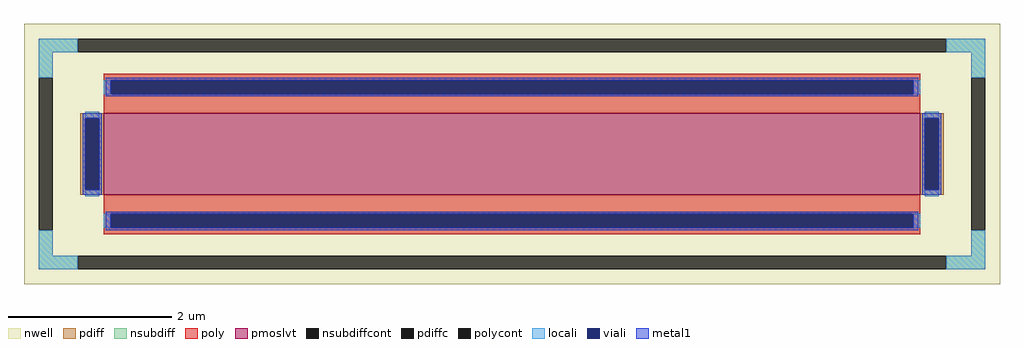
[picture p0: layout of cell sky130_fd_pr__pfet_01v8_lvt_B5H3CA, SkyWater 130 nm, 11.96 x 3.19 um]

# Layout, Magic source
magic
tech sky130A
magscale 1 2
<< nwell >>
rect -1196 -319 1196 319
<< pmoslvt >>
rect -1000 -100 1000 100
<< pdiff >>
rect -1058 88 -1000 100
rect -1058 -88 -1046 88
rect -1012 -88 -1000 88
rect -1058 -100 -1000 -88
rect 1000 88 1058 100
rect 1000 -88 1012 88
rect 1046 -88 1058 88
rect 1000 -100 1058 -88
<< pdiffc >>
rect -1046 -88 -1012 88
rect 1012 -88 1046 88
<< nsubdiff >>
rect -1160 249 -1064 283
rect 1064 249 1160 283
rect -1160 187 -1126 249
rect 1126 187 1160 249
rect -1160 -249 -1126 -187
rect 1126 -249 1160 -187
rect -1160 -283 -1064 -249
rect 1064 -283 1160 -249
<< nsubdiffcont >>
rect -1064 249 1064 283
rect -1160 -187 -1126 187
rect 1126 -187 1160 187
rect -1064 -283 1064 -249
<< poly >>
rect -1000 181 1000 197
rect -1000 147 -984 181
rect 984 147 1000 181
rect -1000 100 1000 147
rect -1000 -147 1000 -100
rect -1000 -181 -984 -147
rect 984 -181 1000 -147
rect -1000 -197 1000 -181
<< polycont >>
rect -984 147 984 181
rect -984 -181 984 -147
<< locali >>
rect -1160 249 -1064 283
rect 1064 249 1160 283
rect -1160 187 -1126 249
rect 1126 187 1160 249
rect -1000 147 -984 181
rect 984 147 1000 181
rect -1046 88 -1012 104
rect -1046 -104 -1012 -88
rect 1012 88 1046 104
rect 1012 -104 1046 -88
rect -1000 -181 -984 -147
rect 984 -181 1000 -147
rect -1160 -249 -1126 -187
rect 1126 -249 1160 -187
rect -1160 -283 -1064 -249
rect 1064 -283 1160 -249
<< viali >>
rect -984 147 984 181
rect -1046 -88 -1012 88
rect 1012 -88 1046 88
rect -984 -181 984 -147
<< metal1 >>
rect -996 181 996 187
rect -996 147 -984 181
rect 984 147 996 181
rect -996 141 996 147
rect -1052 88 -1006 100
rect -1052 -88 -1046 88
rect -1012 -88 -1006 88
rect -1052 -100 -1006 -88
rect 1006 88 1052 100
rect 1006 -88 1012 88
rect 1046 -88 1052 88
rect 1006 -100 1052 -88
rect -996 -147 996 -141
rect -996 -181 -984 -147
rect 984 -181 996 -147
rect -996 -187 996 -181
<< properties >>
string FIXED_BBOX -1143 -266 1143 266
string gencell sky130_fd_pr__pfet_01v8_lvt
string library sky130
string parameters w 1.0 l 10.0 m 1 nf 1 diffcov 100 polycov 100 guard 1 glc 1 grc 1 gtc 1 gbc 1 tbcov 100 rlcov 100 topc 1 botc 1 poverlap 0 doverlap 1 lmin 0.35 wmin 0.42 compatible {sky130_fd_pr__pfet_01v8  sky130_fd_pr__pfet_01v8_lvt sky130_fd_pr__pfet_01v8_hvt  sky130_fd_pr__pfet_g5v0d10v5} full_metal 1 viasrc 100 viadrn 100 viagate 100 viagb 0 viagr 0 viagl 0 viagt 0
<< end >>
